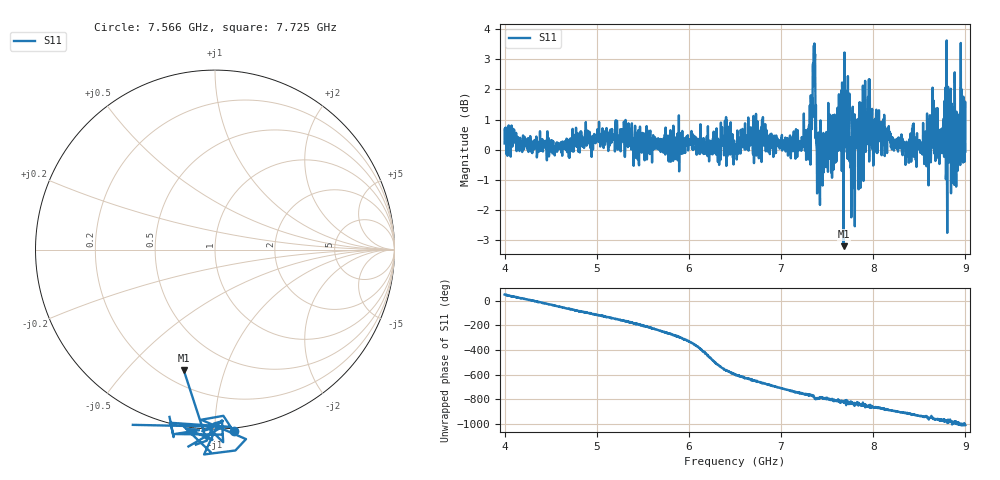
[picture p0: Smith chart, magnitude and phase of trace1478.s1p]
! Created with skrf 1.8.0 (http://scikit-rf.org).
# Hz S RI R 50.0
!freq ReS11 ImS11
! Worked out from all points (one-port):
!   1601 points, 4 GHz to 9 GHz, reference 50 ohm
!   lowest |S11| = -3.2 dB at 7.678 GHz (marker M1), VSWR 5.51, Z = 14.2 - j36.7 ohm
!   |S11| at or under -10 dB: nowhere
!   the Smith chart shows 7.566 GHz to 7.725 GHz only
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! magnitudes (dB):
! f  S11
! 4 GHz  0.2
! 4.625 GHz  -0.2
! 5.25 GHz  0.0
! 5.875 GHz  0.5
! 6.319 GHz  -0.3
! 6.378 GHz  0.1
! 6.5 GHz  -0.1
! 6.806 GHz  0.5
! 7.125 GHz  0.3
! 7.294 GHz  -0.3
! 7.347 GHz  2.9
! 7.369 GHz  3.2
! 7.397 GHz  -1.3
! 7.412 GHz  -0.9
! 7.516 GHz  -0.3
! 7.578 GHz  1.0
! 7.631 GHz  0.1
! 7.678 GHz  -3.2
! 7.712 GHz  -0.1
! 7.75 GHz  -0.2
! 7.781 GHz  -0.6
! 7.834 GHz  0.4
! 7.962 GHz  2.3
! 8.375 GHz  0.1
! 8.772 GHz  1.3
! 8.869 GHz  -0.2
! 8.959 GHz  2.0
! 9 GHz  -0.1
